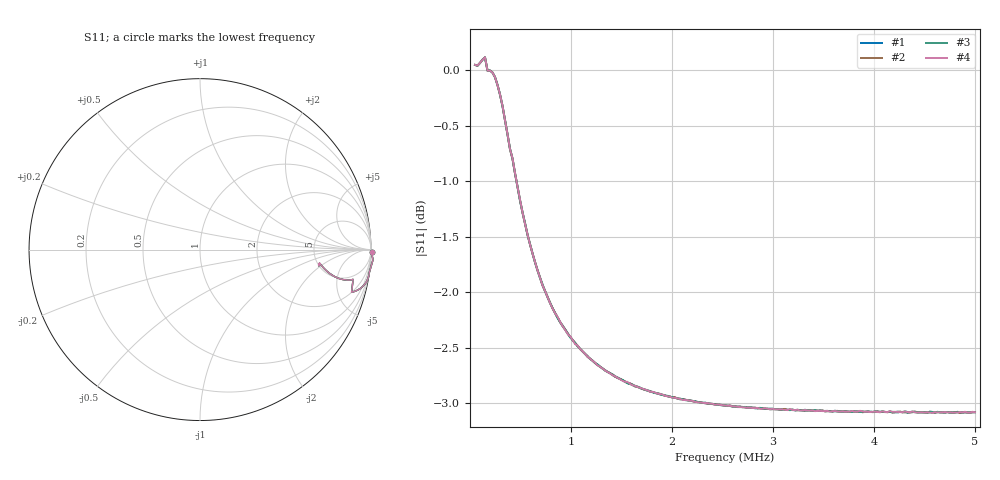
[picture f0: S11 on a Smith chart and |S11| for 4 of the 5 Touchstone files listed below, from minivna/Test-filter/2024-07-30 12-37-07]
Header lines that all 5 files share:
! NanoVNA-App by OneOfEleven et al v1.1.209 (+OD15)
! Start: 50kHz Stop: 5MHz Points: 201
! S-Parameter data: F S11 S21 S12 S22
# Hz S RI R 50
!  Frequency  S11_Real  S11_Imag  S21_Real  S21_Imag  S12_Real  S12_Imag  S22_Real  S22_Imag
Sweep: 50 kHz to 5 MHz
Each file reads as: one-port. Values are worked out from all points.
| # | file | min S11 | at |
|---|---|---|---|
| 1 | 1.s2p | -3.1 dB | 4.777 MHz |
| 2 | 6.s2p | -3.1 dB | 4.851 MHz |
| 3 | 9.s2p | -3.1 dB | 4.753 MHz |
| 4 | 10.s2p | -3.1 dB | 4.579 MHz |
| 5 | 11.s2p | -3.1 dB | 4.851 MHz |
